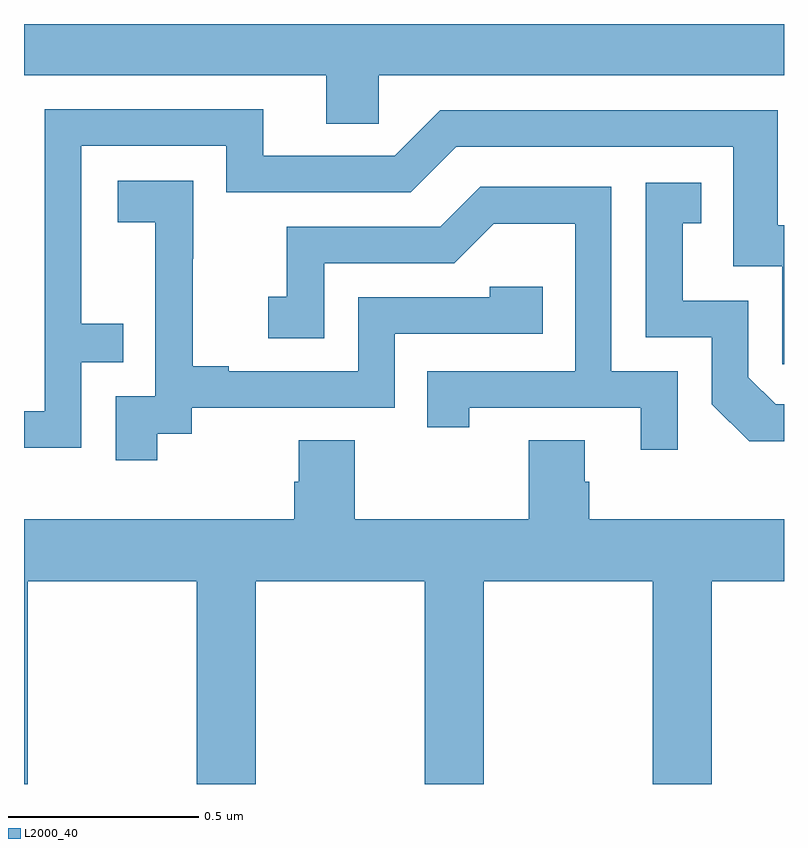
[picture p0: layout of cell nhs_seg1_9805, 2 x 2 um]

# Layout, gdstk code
import gdstk
lib = gdstk.Library(unit=1e-6, precision=1e-09)
def P(c, l, *ps):  # polygons
    for p in ps: c.add(gdstk.Polygon(p, *l))
L2000_40 = (2000, 40)

nhs_seg1_9805 = lib.new_cell('nhs_seg1_9805')
P(nhs_seg1_9805, L2000_40, [(233.934,553.064),(235,553.064),(235,553.199),(233,553.199),(233,553.064),(233.795,553.064),(233.795,552.937),(233.934,552.937)],
  [(233.151,552.309),(233.261,552.309),(233.261,552.41),(233.151,552.41),(233.151,552.879),(233.532,552.879),(233.532,552.756),(234.018,552.756),(234.138,552.876),(234.867,552.876),(234.867,552.561),(234.996,552.561),(234.996,552.303),(235,552.303),(235,552.67),(234.983,552.67),(234.983,552.972),(234.096,552.972),(233.976,552.852),(233.629,552.852),(233.629,552.975),(233.055,552.975),(233.055,552.18),(233,552.18),(233,552.084),(233.151,552.084)],
  [(233.35,552.121),(233.442,552.121),(233.442,552.189),(233.976,552.189),(233.976,552.384),(234.365,552.384),(234.365,552.507),(234.225,552.507),(234.225,552.48),(233.88,552.48),(233.88,552.285),(233.539,552.285),(233.539,552.298),(233.444,552.298),(233.444,552.581),(233.445,552.581),(233.445,552.787),(233.247,552.787),(233.247,552.677),(233.345,552.677),(233.345,552.449),(233.346,552.449),(233.346,552.219),(233.241,552.219),(233.241,552.051),(233.35,552.051)],
  [(235,552.198),(234.978,552.198),(234.906,552.27),(234.906,552.471),(234.733,552.471),(234.733,552.675),(234.782,552.675),(234.782,552.781),(234.636,552.781),(234.636,552.375),(234.81,552.375),(234.81,552.198),(234.908,552.101),(235,552.101)],
  [(234.72,552.285),(234.546,552.285),(234.546,552.771),(234.2,552.771),(234.095,552.666),(233.692,552.666),(233.692,552.481),(233.643,552.481),(233.643,552.372),(233.79,552.372),(233.79,552.57),(234.132,552.57),(234.236,552.674),(234.45,552.674),(234.45,552.285),(234.061,552.285),(234.061,552.138),(234.172,552.138),(234.172,552.189),(234.623,552.189),(234.623,552.078),(234.72,552.078)],
  [(233.871,552.104),(233.723,552.104),(233.723,551.994),(233.711,551.994),(233.711,551.896),(233,551.896),(233,551.199),(233.01,551.199),(233.01,551.732),(233.455,551.732),(233.455,551.199),(233.61,551.199),(233.61,551.732),(234.055,551.732),(234.055,551.199),(234.21,551.199),(234.21,551.732),(234.655,551.732),(234.655,551.199),(234.81,551.199),(234.81,551.732),(235,551.732),(235,551.896),(234.488,551.896),(234.488,551.994),(234.475,551.994),(234.475,552.104),(234.328,552.104),(234.328,551.896),(233.871,551.896)])

lib.write_gds('nhs_seg1_9805.gds')
